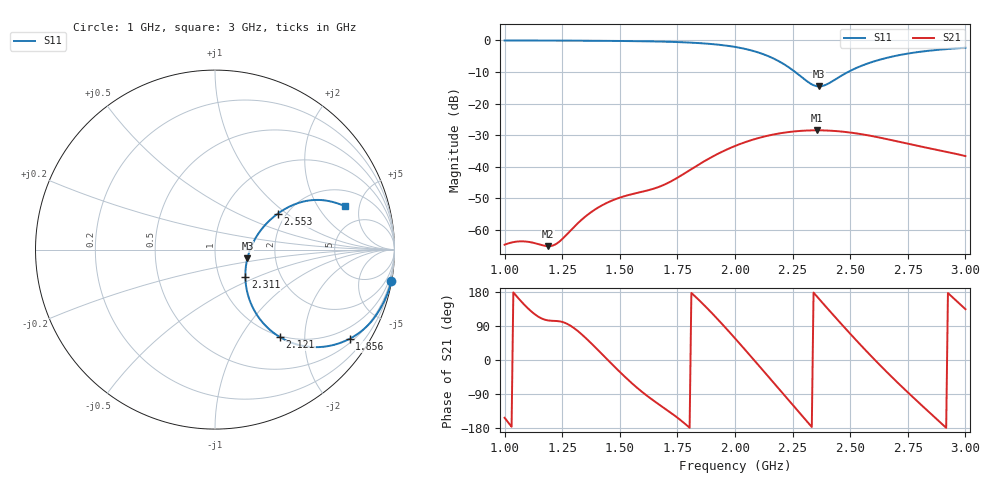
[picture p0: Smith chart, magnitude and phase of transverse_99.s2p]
! TOUCHSTONE file generated by CST MICROWAVE STUDIO
! Date and time: Tue Mar 11 13:56:41 2025
! Project name: transverse.cst
! Parameters = {Fracture=1; B=10; D=160; F=25; Feed=2.85625; L=100; M=10; R=0.384908; S=2; Theta=90; length=57.125; wave=114.25}
! Header version: 2024
! Port assignment regex: !\s*Touchstone port\s*([0-9]+)\s*=\s*(CST MWS port|CST DES external port|CST DES block port)\s*(.+)\s* \(\"(.*)\"\)(\s*mode\s*([0-9]+))?.*
! Touchstone port assignment:
! Touchstone port 1 = CST MWS port 1 ("")
! Touchstone port 2 = CST MWS port 2 ("")
# GHz S MA R 50
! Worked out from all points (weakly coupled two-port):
!   265 points, 1 GHz to 3 GHz, reference 50 ohm
!   highest |S21| = -28.48 dB at 2.356 GHz (marker M1); lowest = -65.2 dB at 1.189 GHz (marker M2)
!   lowest |S11| = -14.6 dB at 2.364 GHz (marker M3), VSWR 1.46, Z = 71.6 - j7.14 ohm
!   |S11| at or under -10 dB: 2.261 GHz to 2.491 GHz (229.4 MHz wide, 9.65 % of centre)
!   S12 and S22 are empty: the file has one direction only
!   S11 on the Smith chart (normalised r, x): 1 GHz: 0, -11; 1.856 GHz: 0.61, -3.22; 2.121 GHz: 0.98, -1.51; 2.311 GHz: 1.33, -0.43; 2.553 GHz: 1.81, +0.86; 3 GHz: 3.12, +3.62
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1  0.9977 -10.0  0.0005813 -152.6  0 0.0  0 0.0
1.08333  0.9966 -11.2  0.0006569 147.2  0 0.0  0 0.0
1.18939  0.9943 -12.8  0.0005515 104.4  0 0.0  0 0.0
1.23485  0.993 -13.6  0.0006382 102.3  0 0.0  0 0.0
1.34091  0.9889 -15.5  0.001517 64.3  0 0.0  0 0.0
1.40152  0.9859 -16.8  0.002204 28.7  0 0.0  0 0.0
1.4697  0.9815 -18.4  0.002947 -13.2  0 0.0  0 0.0
1.66667  0.9602 -24.4  0.004744 -115.8  0 0.0  0 0.0
1.73485  0.9456 -27.2  0.006209 -145.1  0 0.0  0 0.0
1.85606  0.9001 -33.5  0.01157 150.8  0 0.0  0 0.0
2  0.7882 -43.6  0.02128 57.3  0 0.0  0 0.0
2.12121  0.6078 -53.4  0.02969 -27.2  0 0.0  0 0.0
2.21212  0.421 -57.3  0.03455 -91.5  0 0.0  0 0.0
2.31061  0.2284 -42.3  0.03737 -160.9  0 0.0  0 0.0
2.34091  0.1953 -28.1  0.03765 177.9  0 0.0  0 0.0
2.35606  0.1879 -19.4  0.03768 167.3  0 0.0  0 0.0
2.36364  0.1867 -14.9  0.03767 162.0  0 0.0  0 0.0
2.40152  0.2038 5.3  0.03736 135.9  0 0.0  0 0.0
2.55303  0.4013 29.8  0.03253 34.6  0 0.0  0 0.0
2.66667  0.5376 29.1  0.02698 -36.4  0 0.0  0 0.0
2.81061  0.6655 24.4  0.02072 -119.8  0 0.0  0 0.0
3  0.765 18.3  0.01473 134.2  0 0.0  0 0.0
